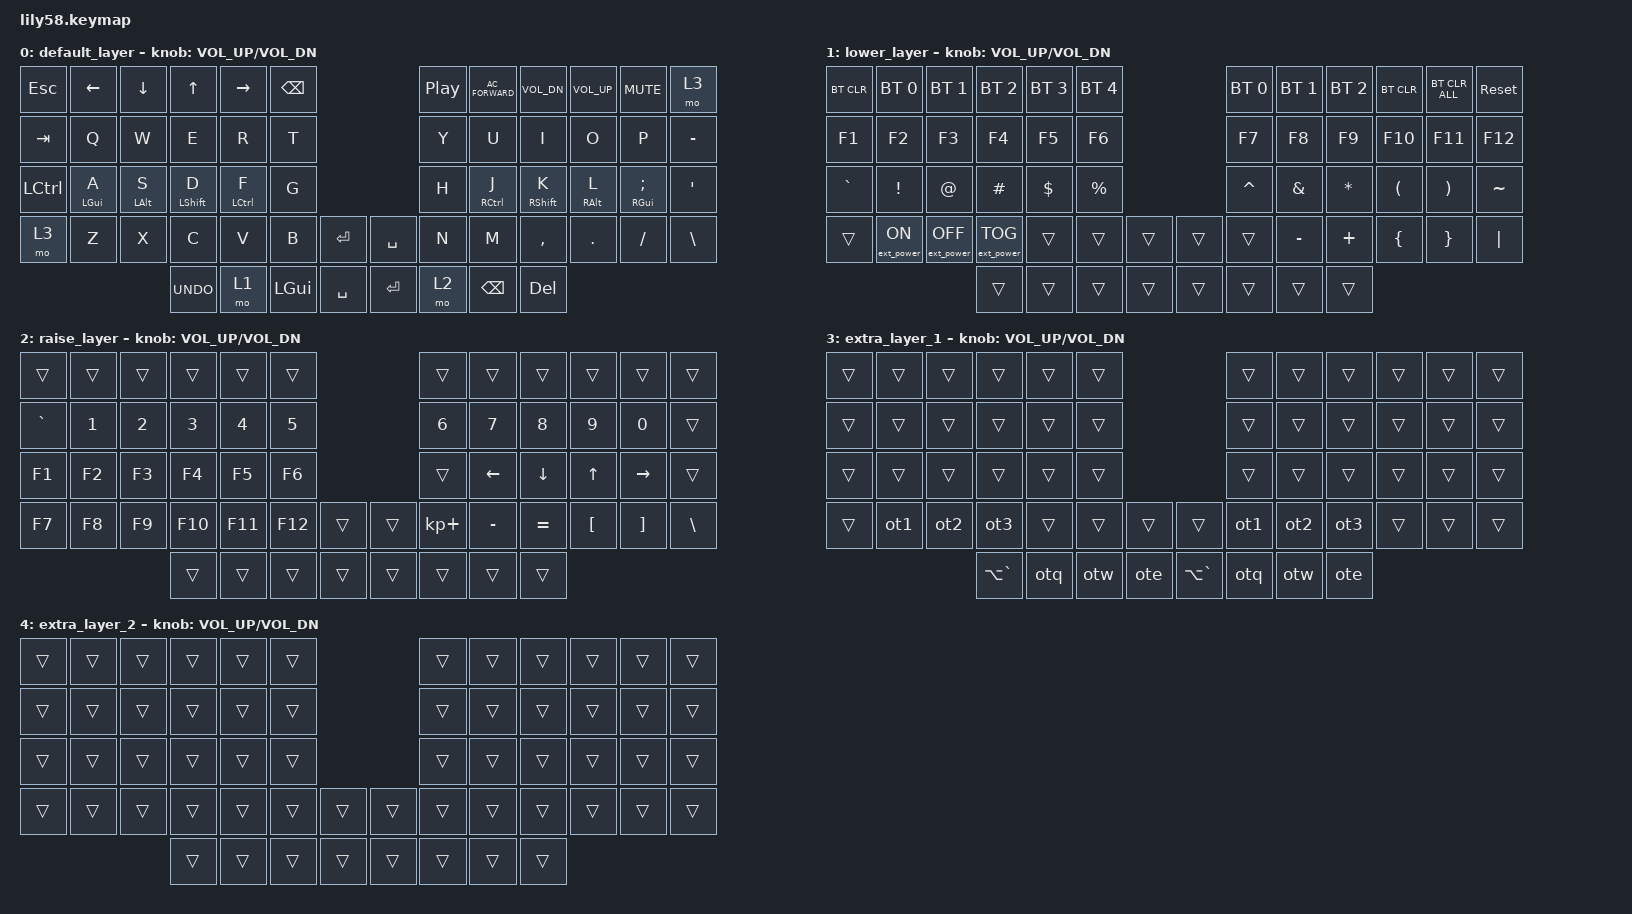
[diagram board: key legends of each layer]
/*
 * Copyright (c) 2020 The ZMK Contributors
 *
 * SPDX-License-Identifier: MIT
 */

#include <behaviors.dtsi>
#include <dt-bindings/zmk/bt.h>
#include <dt-bindings/zmk/ext_power.h>
#include <dt-bindings/zmk/keys.h>

/ {
    macros {
        otq: otq {
            compatible = "zmk,behavior-macro";
            #binding-cells = <0>;
            bindings = <&kp LA(GRAVE) &kp Q>;
        };

        otw: otw {
            compatible = "zmk,behavior-macro";
            #binding-cells = <0>;
            bindings = <&kp LA(GRAVE) &kp W>;
        };

        ote: ote {
            compatible = "zmk,behavior-macro";
            #binding-cells = <0>;
            bindings = <&kp LA(GRAVE) &kp E>;
        };

        ot1: ot1 {
            compatible = "zmk,behavior-macro";
            #binding-cells = <0>;
            bindings = <&kp LA(GRAVE) &kp N1>;
        };

        ot2: ot2 {
            compatible = "zmk,behavior-macro";
            #binding-cells = <0>;
            bindings = <&kp LA(GRAVE) &kp N2>;
        };

        ot3: ot3 {
            compatible = "zmk,behavior-macro";
            #binding-cells = <0>;
            bindings = <&kp LA(GRAVE) &kp N3>;
        };
    };

    behaviors {
        hml: home_row_mod_left {
            compatible = "zmk,behavior-hold-tap";
            #binding-cells = <2>;
            flavor = "balanced";
            require-prior-idle-ms = <150>;
            tapping-term-ms = <280>;
            quick-tap-ms = <175>;
            bindings = <&kp>, <&kp>;
            hold-trigger-key-positions = <6 7 8 9 10 11 18 19 20 21 22 23 30 31 32 33 34 35 43 44 45 46 47 48 49 54 55 56 57>;
            hold-trigger-on-release;
        };

        hmr: home_row_mod_right {
            compatible = "zmk,behavior-hold-tap";
            #binding-cells = <2>;
            flavor = "balanced";
            require-prior-idle-ms = <150>;
            tapping-term-ms = <280>;
            quick-tap-ms = <175>;
            bindings = <&kp>, <&kp>;
            hold-trigger-key-positions = <0 1 2 3 4 5 12 13 14 15 16 17 24 25 26 27 28 29 36 37 38 39 40 41 42 50 51 52 53>;
            hold-trigger-on-release;
        };
    };

    keymap {
        compatible = "zmk,keymap";

        default_layer {
            // ------------------------------------------------------------------------------------------------------------
            // |  ESC  |  ←  |  ↓  |  ↑   |  →   | BSPC |                   | PLAY |  >>  | V-   |  V+  | MUTE  |   `   |
            // |  TAB  |  Q  |  W  |  E   |  R   |  T   |                   |  Y   |  U   |  I   |  O   |   P   |   -   |
            // |  CTRL |GUI/A|ALT/S|SHF/D |CTL/F |  G   |                   |  H   |CTL/J |SHF/K |ALT/L |GUI/;  |   '   |
            // |  ALT  |  Z  |  X  |  C   |  V   |  B   |  RET  |  | SPACE |  N   |  M   |  ,   |  .   |   /   |   \   |
            //                     | UNDO | mo1  | GUI  | SPACE |  |  RET  | mo2  | BSPC | DEL  |

            bindings = <
&kp ESC       &kp LEFT_ARROW    &kp DOWN_ARROW    &kp UP_ARROW      &kp RIGHT_ARROW  &kp BACKSPACE                          &kp C_PLAY_PAUSE  &kp C_AC_FORWARD  &kp C_VOL_DN      &kp C_VOLUME_UP   &kp K_MUTE        &mo 3
&kp TAB       &kp Q             &kp W             &kp E             &kp R            &kp T                                  &kp Y             &kp U             &kp I             &kp O             &kp P             &kp MINUS
&kp LCTRL     &hml LGUI A       &hml LALT S       &hml LSHFT D      &hml LCTRL F     &kp G                                  &kp H             &hmr RCTRL J      &hmr RSHFT K      &hmr RALT L       &hmr RGUI SEMI    &kp SQT
&mo 3          &kp Z             &kp X             &kp C             &kp V            &kp B          &kp RET      &kp SPACE  &kp N             &kp M             &kp COMMA         &kp DOT           &kp FSLH          &kp BACKSLASH
                                                  &kp K_UNDO        &mo 1            &kp LEFT_GUI   &kp SPACE    &kp RET    &mo 2             &kp BSPC          &kp DELETE
            >;

            sensor-bindings = <&inc_dec_kp C_VOL_UP C_VOL_DN>;
        };

        lower_layer {
            // ------------------------------------------------------------------------------------------------------------
            // | BTCLR | BT1 | BT2 |  BT3 |  BT4 |  BT5 |                   | BT1  | BT2  | BT3  |BTCLR |BTCLRAL| RESET |
            // |  F1   |  F2 |  F3 |  F4  |  F5  |  F6  |                   |  F7  |  F8  |  F9  |  F10 |  F11  |  F12  |
            // |   `   |  !  |  @  |  #   |  $   |  %   |                   |  ^   |  &   |  *   |  (   |   )   |   ~   |
            // |       |EP_ON|EP_OF|EP_TOG|      |      |        |  |       |      |  _   |  +   |  {   |   }   |  "|"  |
            //                     |      |      |      |        |  |       |      |      |      |

            bindings = <
&bt BT_CLR  &bt BT_SEL 0      &bt BT_SEL 1       &bt BT_SEL 2       &bt BT_SEL 3  &bt BT_SEL 4                    &bt BT_SEL 0  &bt BT_SEL 1  &bt BT_SEL 2  &bt BT_CLR  &bt BT_CLR_ALL  &sys_reset
&kp F1      &kp F2            &kp F3             &kp F4             &kp F5        &kp F6                          &kp F7        &kp F8        &kp F9        &kp F10     &kp F11         &kp F12
&kp GRAVE   &kp EXCL          &kp AT             &kp HASH           &kp DOLLAR    &kp PRCNT                       &kp CARET     &kp AMPS      &kp ASTRK     &kp LPAR    &kp RPAR        &kp TILDE
&trans      &ext_power EP_ON  &ext_power EP_OFF  &ext_power EP_TOG  &trans        &trans        &trans    &trans  &trans        &kp MINUS     &kp PLUS      &kp LBRC    &kp RBRC        &kp PIPE
                                                 &trans             &trans        &trans        &trans    &trans  &trans        &trans        &trans
            >;

            sensor-bindings = <&inc_dec_kp C_VOL_UP C_VOL_DN>;
        };

        raise_layer {
            // ------------------------------------------------------------------------------------------------------------
            // |       |     |     |      |      |      |                   |      |       |       |      |       |       |
            // |   `   |  1  |  2  |  3   |  4   |  5   |                   |  6   |   7   |   8   |  9   |   0   |       |
            // |   F1  |  F2 |  F3 |  F4  |  F5  |  F6  |                   |      |   <-  |   v   |  ^   |  ->   |       |
            // |   F7  |  F8 |  F9 |  F10 |  F11 |  F12 |        |  |       |  +   |   -   |   =   |  [   |   ]   |   \   |
            //                     |      |      |      |        |  |       |      |       |       |

            bindings = <
&trans     &trans  &trans  &trans   &trans   &trans                     &trans       &trans     &trans     &trans    &trans     &trans
&kp GRAVE  &kp N1  &kp N2  &kp N3   &kp N4   &kp N5                     &kp N6       &kp N7     &kp N8     &kp N9    &kp N0     &trans
&kp F1     &kp F2  &kp F3  &kp F4   &kp F5   &kp F6                     &trans       &kp LEFT   &kp DOWN   &kp UP    &kp RIGHT  &trans
&kp F7     &kp F8  &kp F9  &kp F10  &kp F11  &kp F12  &trans    &trans  &kp KP_PLUS  &kp MINUS  &kp EQUAL  &kp LBKT  &kp RBKT   &kp BSLH
                           &trans   &trans   &trans   &trans    &trans  &trans       &trans     &trans
            >;

            sensor-bindings = <&inc_dec_kp C_VOL_UP C_VOL_DN>;
        };

        extra_layer_1 {
            // left thumb (L→R):  Opt+` | Opt+`Q | Opt+`W | Opt+`E
            // right thumb (L→R): Opt+` | Opt+`Q | Opt+`W | Opt+`E
            // left bottom row (next to mo3):  Opt+`1 | Opt+`2 | Opt+`3
            // right bottom row (first three): Opt+`1 | Opt+`2 | Opt+`3
            bindings = <
&trans  &trans  &trans  &trans  &trans  &trans                    &trans  &trans  &trans  &trans  &trans  &trans
&trans  &trans  &trans  &trans  &trans  &trans                    &trans  &trans  &trans  &trans  &trans  &trans
&trans  &trans  &trans  &trans  &trans  &trans                    &trans  &trans  &trans  &trans  &trans  &trans
&trans  &ot1    &ot2    &ot3    &trans  &trans  &trans    &trans  &ot1    &ot2    &ot3    &trans  &trans  &trans
                        &kp LA(GRAVE)  &otq  &otw  &ote      &kp LA(GRAVE)  &otq  &otw  &ote
            >;

            sensor-bindings = <&inc_dec_kp C_VOL_UP C_VOL_DN>;
        };

        extra_layer_2 {
            bindings = <
&trans  &trans  &trans  &trans  &trans  &trans                    &trans  &trans  &trans  &trans  &trans  &trans
&trans  &trans  &trans  &trans  &trans  &trans                    &trans  &trans  &trans  &trans  &trans  &trans
&trans  &trans  &trans  &trans  &trans  &trans                    &trans  &trans  &trans  &trans  &trans  &trans
&trans  &trans  &trans  &trans  &trans  &trans  &trans    &trans  &trans  &trans  &trans  &trans  &trans  &trans
                        &trans  &trans  &trans  &trans    &trans  &trans  &trans  &trans
            >;

            sensor-bindings = <&inc_dec_kp C_VOL_UP C_VOL_DN>;
        };
    };
};
